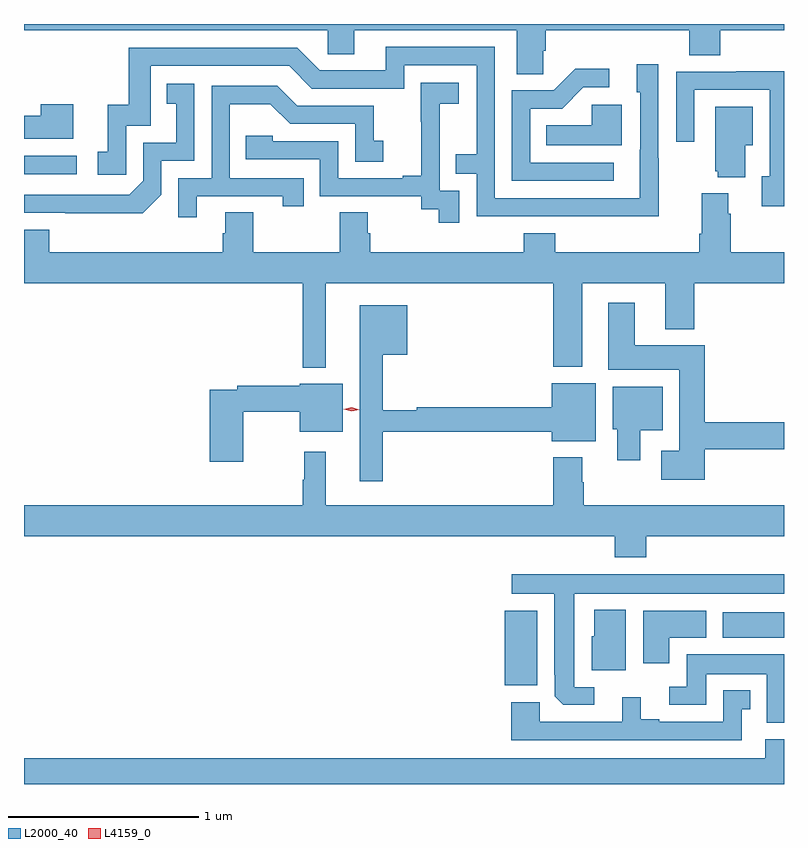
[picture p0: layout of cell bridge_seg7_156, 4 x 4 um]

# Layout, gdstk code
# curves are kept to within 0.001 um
import gdstk
lib = gdstk.Library(unit=1e-6, precision=1e-09)
def R(c, l, rs):  # rectangles x0, y0, x1, y1
    for r in rs: c.add(gdstk.rectangle(r[:2], r[2:], *l))
def P(c, l, *ps):  # polygons
    for p in ps: c.add(gdstk.Polygon(p, *l))
L2000_40 = (2000, 40)
L4159_0 = (4159, 0)

bridge_seg7_156 = lib.new_cell('bridge_seg7_156')
R(bridge_seg7_156, L2000_40, [(578.918,1055.777,579.088,1056.169), (580.064,1056.026,580.387,1056.16), (576.387,1058.466,576.664,1058.562)])
P(bridge_seg7_156, L2000_40, [(579.12,1059.115),(579.134,1059.115),(579.134,1059.224),(579.887,1059.224),(579.887,1059.091),(580.052,1059.091),(580.052,1059.224),(580.387,1059.224),(580.387,1059.256),(576.387,1059.256),(576.387,1059.224),(577.986,1059.224),(577.986,1059.097),(578.125,1059.097),(578.125,1059.224),(578.981,1059.224),(578.981,1058.992),(579.12,1058.992)],
  [(579.729,1058.549),(579.726,1058.549),(579.726,1059.043),(579.611,1059.043),(579.611,1058.898),(579.63,1058.898),(579.629,1058.34),(578.865,1058.34),(578.865,1059.135),(578.291,1059.135),(578.291,1059.012),(577.944,1059.012),(577.824,1059.132),(576.937,1059.132),(576.937,1058.83),(576.827,1058.83),(576.827,1058.583),(576.774,1058.583),(576.774,1058.463),(576.924,1058.463),(576.924,1058.721),(577.053,1058.721),(577.053,1059.036),(577.782,1059.036),(577.902,1058.916),(578.388,1058.916),(578.388,1059.039),(578.769,1059.039),(578.769,1058.57),(578.659,1058.57),(578.659,1058.469),(578.769,1058.469),(578.769,1058.244),(579.729,1058.243)],
  [(579.49,1058.526),(579.051,1058.526),(579.051,1058.811),(579.22,1058.811),(579.331,1058.922),(579.466,1058.922),(579.466,1059.02),(579.287,1059.02),(579.174,1058.907),(578.955,1058.907),(578.955,1058.43),(579.49,1058.43)],
  [(580.387,1059.008),(580.135,1059.008),(580.135,1059.006),(579.819,1059.006),(579.819,1058.637),(579.915,1058.637),(579.915,1058.91),(580.311,1058.91),(580.311,1058.454),(580.271,1058.454),(580.271,1058.298),(580.387,1058.298)],
  [(578.679,1058.379),(578.574,1058.379),(578.574,1058.609),(578.576,1058.609),(578.576,1058.837),(578.674,1058.837),(578.674,1058.947),(578.476,1058.947),(578.476,1058.741),(578.477,1058.741),(578.477,1058.458),(578.381,1058.458),(578.381,1058.445),(578.04,1058.445),(578.04,1058.64),(577.695,1058.64),(577.695,1058.667),(577.555,1058.667),(577.555,1058.544),(577.944,1058.544),(577.944,1058.349),(578.478,1058.349),(578.478,1058.281),(578.571,1058.281),(578.571,1058.211),(578.679,1058.211)],
  [(577.11,1058.358),(577.11,1058.535),(577.284,1058.535),(577.284,1058.941),(577.138,1058.941),(577.138,1058.835),(577.187,1058.835),(577.187,1058.631),(577.014,1058.631),(577.014,1058.43),(576.942,1058.358),(576.387,1058.358),(576.387,1058.262),(577.012,1058.261)],
  [(577.297,1058.349),(577.748,1058.349),(577.748,1058.298),(577.859,1058.298),(577.859,1058.445),(577.47,1058.445),(577.47,1058.834),(577.684,1058.834),(577.788,1058.73),(578.13,1058.73),(578.13,1058.532),(578.278,1058.532),(578.278,1058.641),(578.229,1058.641),(578.229,1058.826),(577.825,1058.826),(577.72,1058.931),(577.374,1058.931),(577.374,1058.445),(577.2,1058.445),(577.2,1058.238),(577.297,1058.238)],
  [(576.646,1058.833),(576.476,1058.833),(576.476,1058.773),(576.387,1058.773),(576.387,1058.651),(576.646,1058.651)],
  [(579.532,1058.83),(579.375,1058.83),(579.375,1058.722),(579.136,1058.722),(579.136,1058.618),(579.532,1058.618)],
  [(580.183,1058.618),(580.222,1058.618),(580.222,1058.821),(580.025,1058.821),(580.025,1058.481),(580.037,1058.481),(580.037,1058.45),(580.183,1058.45)],
  [(579.182,1058.155),(579.017,1058.155),(579.017,1058.056),(578.21,1058.056),(578.21,1058.154),(578.197,1058.154),(578.197,1058.264),(578.05,1058.264),(578.05,1058.056),(577.593,1058.056),(577.593,1058.264),(577.445,1058.264),(577.445,1058.154),(577.433,1058.154),(577.433,1058.056),(576.521,1058.056),(576.521,1058.173),(576.387,1058.173),(576.387,1057.892),(577.854,1057.892),(577.854,1057.448),(577.975,1057.448),(577.975,1057.892),(579.173,1057.892),(579.173,1057.451),(579.325,1057.451),(579.325,1057.892),(579.761,1057.892),(579.761,1057.649),(579.914,1057.649),(579.914,1057.892),(580.387,1057.892),(580.387,1058.056),(580.106,1058.056),(580.106,1058.258),(580.093,1058.258),(580.093,1058.365),(579.953,1058.365),(579.953,1058.152),(579.941,1058.152),(579.941,1058.056),(579.182,1058.056)],
  [(579.971,1057.018),(580.387,1057.018),(580.387,1057.16),(579.971,1057.16),(579.971,1057.564),(579.601,1057.564),(579.601,1057.789),(579.461,1057.789),(579.461,1057.436),(579.836,1057.436),(579.836,1057.009),(579.741,1057.009),(579.741,1056.857),(579.971,1056.857)],
  [(578.275,1057.11),(579.164,1057.11),(579.164,1057.061),(579.397,1057.061),(579.397,1057.366),(579.164,1057.366),(579.164,1057.238),(578.453,1057.238),(578.453,1057.223),(578.275,1057.223),(578.275,1057.514),(578.404,1057.514),(578.404,1057.777),(578.153,1057.777),(578.153,1056.849),(578.275,1056.849)],
  [(577.542,1057.216),(577.838,1057.216),(577.838,1057.109),(578.065,1057.109),(578.065,1057.363),(577.838,1057.363),(577.838,1057.352),(577.51,1057.352),(577.51,1057.332),(577.364,1057.332),(577.364,1056.951),(577.542,1056.951)],
  [(579.631,1057.118),(579.748,1057.118),(579.748,1057.348),(579.485,1057.348),(579.485,1057.122),(579.509,1057.122),(579.509,1056.96),(579.631,1056.96)],
  [(579.662,1056.56),(580.387,1056.56),(580.387,1056.724),(579.333,1056.724),(579.333,1056.845),(579.325,1056.845),(579.325,1056.976),(579.173,1056.976),(579.173,1056.724),(577.975,1056.724),(577.975,1057.006),(577.861,1057.006),(577.861,1056.857),(577.854,1056.857),(577.854,1056.724),(576.387,1056.724),(576.387,1056.56),(579.497,1056.56),(579.497,1056.449),(579.662,1056.449)],
  [(579.388,1055.766),(579.283,1055.766),(579.283,1056.257),(580.387,1056.257),(580.387,1056.361),(578.955,1056.361),(578.955,1056.257),(579.179,1056.257),(579.18,1055.719),(579.226,1055.673),(579.388,1055.673)],
  [(579.553,1056.172),(579.389,1056.172),(579.389,1056.033),(579.374,1056.033),(579.374,1055.856),(579.553,1055.856)],
  [(579.784,1056.026),(579.979,1056.026),(579.979,1056.169),(579.647,1056.169),(579.647,1055.892),(579.784,1055.892)],
  [(580.387,1055.938),(579.875,1055.938),(579.875,1055.769),(579.783,1055.769),(579.783,1055.673),(579.979,1055.673),(579.979,1055.834),(580.295,1055.834),(580.295,1055.579),(580.387,1055.579)],
  [(580.164,1055.649),(580.21,1055.649),(580.21,1055.749),(580.068,1055.749),(580.068,1055.583),(579.73,1055.583),(579.73,1055.596),(579.634,1055.596),(579.634,1055.713),(579.536,1055.713),(579.536,1055.583),(579.102,1055.583),(579.102,1055.686),(578.951,1055.686),(578.951,1055.487),(580.164,1055.487)],
  [(580.387,1055.491),(580.289,1055.491),(580.289,1055.392),(576.387,1055.392),(576.387,1055.256),(580.387,1055.256)])
P(bridge_seg7_156, L4159_0, [(578.111,1057.218),(578.07,1057.229),(578.07,1057.229),(578.07,1057.229),(578.111,1057.238),(578.152,1057.227),(578.152,1057.227),(578.152,1057.227)])

lib.write_gds('bridge_seg7_156.gds')
